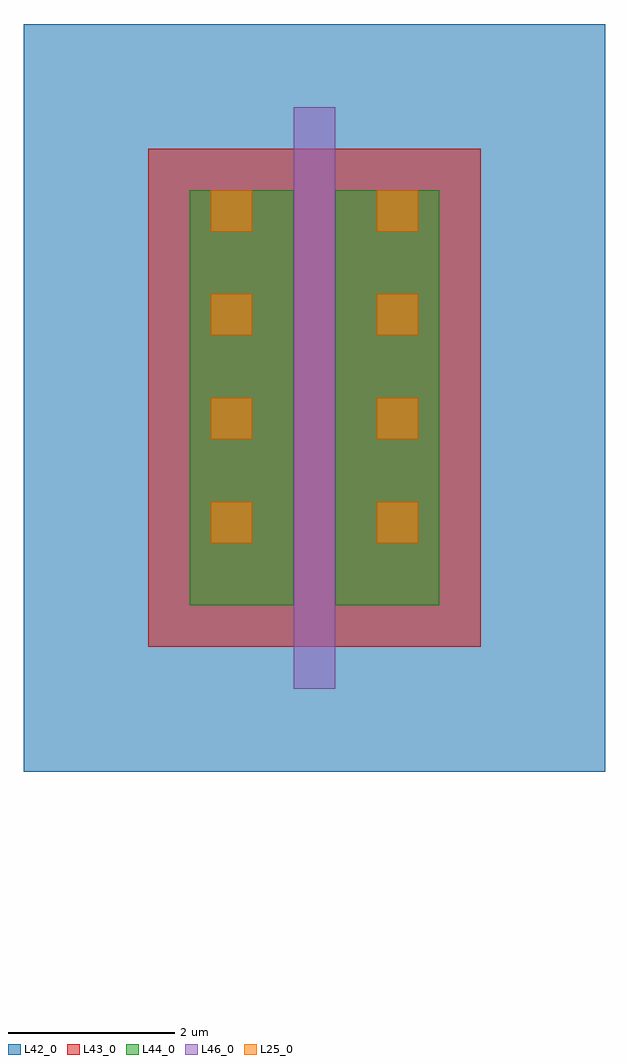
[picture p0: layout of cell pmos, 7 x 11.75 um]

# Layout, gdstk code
import gdstk
lib = gdstk.Library(unit=1e-6, precision=2.5e-07)
def R(c, l, rs):  # rectangles x0, y0, x1, y1
    for r in rs: c.add(gdstk.rectangle(r[:2], r[2:], *l))
def A(c, l, x, y, w, h, nx, ny, dx, dy):  # array of equal rectangles
    R(c, l, [(x+i*dx, y+j*dy, x+i*dx+w, y+j*dy+h) for i in range(nx) for j in range(ny)])
def P(c, l, *ps):  # polygons
    for p in ps: c.add(gdstk.Polygon(p, *l))
L25_0 = (25, 0)
L42_0 = (42, 0)
L43_0 = (43, 0)
L44_0 = (44, 0)
L46_0 = (46, 0)

pmos = lib.new_cell('pmos')
A(pmos, L25_0, -1.5, -0.75, 0.5, 0.5, 1, 4, 0, 1.25)
A(pmos, L25_0, 0.5, -0.75, 0.5, 0.5, 1, 4, 0, 1.25)
R(pmos, L25_0, [(-1.5,-0.75,-1,-0.25), (0.5,-0.75,1,-0.25)])
R(pmos, L42_0, [(-3.75,-3.5,3.25,5.5)])
R(pmos, L43_0, [(-2.25,-2,1.75,4)])
R(pmos, L44_0, [(-1.75,-1.5,-0.5,3.5), (0,-1.5,1.25,3.5)])
R(pmos, L46_0, [(-0.5,-2.5,0,4.5)])
P(pmos, L46_0, [(-3.75,-6.25),(-3.75,-6.25),(-3.75,-6.25),(-3.75,-6.25)])

lib.write_gds('pmos.gds')
